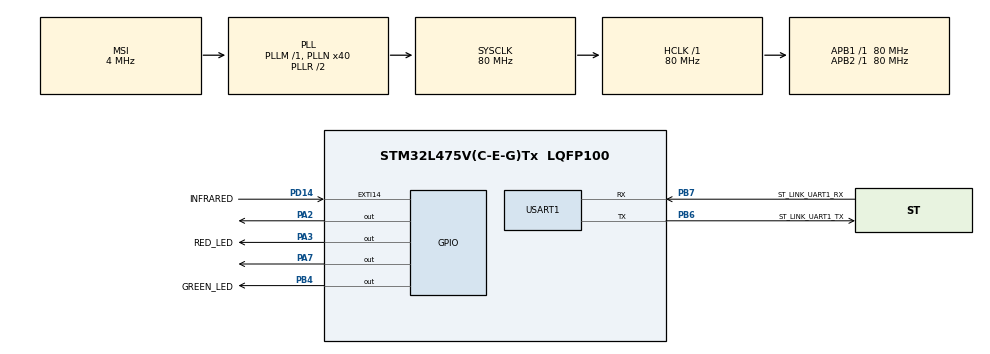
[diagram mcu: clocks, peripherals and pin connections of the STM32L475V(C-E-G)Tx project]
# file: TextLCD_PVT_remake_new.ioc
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Mcu.Family=STM32L4
Mcu.Name=STM32L475V(C-E-G)Tx
Mcu.Package=LQFP100
NVIC.EXTI15_10_IRQn=true\:0\:0\:false\:false\:true\:true\:true\:true
NVIC.PriorityGroup=NVIC_PRIORITYGROUP_4
PA2.GPIO_Speed=GPIO_SPEED_FREQ_HIGH
PA2.PinState=GPIO_PIN_SET
PA2.Signal=GPIO_Output
PA3.GPIO_Label=RED_LED
PA3.PinState=GPIO_PIN_SET
PA3.Signal=GPIO_Output
PA7.GPIO_Speed=GPIO_SPEED_FREQ_HIGH
PA7.PinState=GPIO_PIN_RESET
PA7.Signal=GPIO_Output
PB4\ (NJTRST).GPIO_Label=GREEN_LED
PB4\ (NJTRST).Signal=GPIO_Output
PB6.GPIO_Label=ST_LINK_UART1_TX
PB6.Mode=Asynchronous
PB6.Signal=USART1_TX
PB7.GPIO_Label=ST_LINK_UART1_RX
PB7.Mode=Asynchronous
PB7.Signal=USART1_RX
PD14.GPIO_Label=INFRARED
PD14.GPIO_ModeDefaultEXTI=GPIO_MODE_IT_RISING_FALLING
PD14.Signal=GPXTI14
ProjectManager.HeapSize=0x200
ProjectManager.StackSize=0x400
ProjectManager.TargetToolchain=STM32CubeIDE
RCC.ADCFreq_Value=32000000
RCC.AHBFreq_Value=80000000
RCC.APB1Freq_Value=80000000
RCC.APB1TimFreq_Value=80000000
RCC.APB2Freq_Value=80000000
RCC.APB2TimFreq_Value=80000000
RCC.CortexFreq_Value=80000000
RCC.HCLKFreq_Value=80000000
RCC.HSE_VALUE=8000000
RCC.HSI_VALUE=16000000
RCC.LSE_VALUE=32768
RCC.MSI_VALUE=4000000
RCC.PLLN=40
RCC.PLLSAI1N=16
RCC.SYSCLKFreq_VALUE=80000000
RCC.SYSCLKSource=RCC_SYSCLKSOURCE_PLLCLK
RCC.USBFreq_Value=32000000
RCC.VCOOutputFreq_Value=160000000
TIM2.AutoReloadPreload=TIM_AUTORELOAD_PRELOAD_DISABLE
TIM2.CounterMode=TIM_COUNTERMODE_UP
TIM2.Period=100000
TIM2.Prescaler=80
USART1.VirtualMode-Asynchronous=VM_ASYNC
VP_TIM2_VS_ClockSourceINT.Mode=Internal
board=B-L475E-IOT01A1

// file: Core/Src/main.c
/* USER CODE BEGIN Header */
/**
 ******************************************************************************
 * @file           : main.c
 * @brief          : Main program body
 ******************************************************************************
 * @attention
 *
 * Copyright (c) 2024 STMicroelectronics.
 * All rights reserved.
 *
 * This software is licensed under terms that can be found in the LICENSE file
 * in the root directory of this software component.
 * If no LICENSE file comes with this software, it is provided AS-IS.
 *
 ******************************************************************************
 */
/* USER CODE END Header */
#include "main.h"

/* USER CODE BEGIN Includes */
#include "stdio.h"
#include "string.h"
/* USER CODE END Includes */

TIM_HandleTypeDef htim2;

UART_HandleTypeDef huart1;

/* USER CODE BEGIN PV */
int infrared_state;
uint32_t infrared_code;

const uint8_t digitToSegment[] = {
// XGFEDCBA
		0b00111111,// 0
		0b00000110,    // 1
		0b01011011,    // 2
		0b01001111,    // 3
		0b01100110,    // 4
		0b01101101,    // 5
		0b01111101,    // 6
		0b00000111,    // 7
		0b01111111,    // 8
		0b01101111,    // 9
		0b01110111,    // A
		0b01111100,    // b
		0b00111001,    // C
		0b01011110,    // d
		0b01111001,    // E
		0b01110001     // F
		};
/* USER CODE END PV */

void SystemClock_Config(void);
static void MX_GPIO_Init(void);
static void MX_TIM2_Init(void);
static void MX_USART1_UART_Init(void);

/* USER CODE BEGIN 0 */
void Display_CLK(uint8_t level) {
	HAL_GPIO_WritePin(GPIOA, GPIO_PIN_2, level);
	//HAL_Delay(1);
}

void Display_DIO(uint8_t level) {
	HAL_GPIO_WritePin(GPIOA, GPIO_PIN_7, level);
	//HAL_Delay(1);
}

void I2Cstart(void) {
	Display_DIO(1);
	Display_CLK(1); //I2C start condition
	Display_DIO(0); //high to low data while clk high
	Display_CLK(0);
}

void I2Cstop(void) {
	Display_DIO(0);
	Display_CLK(1); //I2C stop condition
	Display_DIO(1); //low to high data while clk high

}

void I2Cwritebyte(uint8_t databyte)  //LSB first for TM1637 chip!!!
{
	for (uint8_t n = 0; n <= 7; n++) {
		if ((databyte & 0x01) > 0)
			Display_DIO(1);
		else
			Display_DIO(0);
		Display_CLK(1);
		databyte >>= 1;
		Display_CLK(0);
	}
	Display_CLK(1); //9th clk  ACK ignored
	Display_CLK(0);
}

void I2Cwritesegment(uint8_t segmentnr, uint8_t hexdigit) {
	I2Cstart();
	I2Cwritebyte(0x40);  //command1 write data to display register
	I2Cstop();
	I2Cstart();
	I2Cwritebyte(0xc0 + (segmentnr & 0x03));  //command2  display address
	I2Cwritebyte(digitToSegment[hexdigit & 0x0F]);  //data1
	I2Cstop();

	I2Cstart();
	I2Cwritebyte(0x88);  //display control --> display on
	I2Cstop();
}

void I2CwriteDECnumber(unsigned int number) {
	for (int8_t digitnr = 3; digitnr >= 1; digitnr--) {
		I2Cwritesegment(digitnr, number % 10);
		number /= 10;
	}
}

/* USER CODE END 0 */

int main(void) {

	/* USER CODE BEGIN 1 */

	//codes for white remote control
	uint32_t white_raw_codes[10] = { 0xff6897, 0xff30cf, 0xff18e7, 0xff7a85,
			0xff10ef, 0xff38c7, 0xff5aa5, 0xff42bd, 0xff4ab5, 0xff52ad }; //numbers from 0 to 9

	//codes for black remote control
	uint32_t black_raw_codes[10] = { 0xff9867, 0xffa25d, 0xff629d, 0xffe21d,
			0xff22dd, 0xff02fd, 0xffc23d, 0xffe01f, 0xffa857, 0xff906f }; //numbers from 0 to 9

	/* USER CODE END 1 */

	/* MCU Configuration--------------------------------------------------------*/

	/* Reset of all peripherals, Initializes the Flash interface and the Systick. */
	HAL_Init();

	/* USER CODE BEGIN Init */

	infrared_state = 0;
	/* USER CODE END Init */

	/* Configure the system clock */
	SystemClock_Config();

	/* Initialize all configured peripherals */
	MX_GPIO_Init();
	MX_TIM2_Init();
	MX_USART1_UART_Init();
	/* USER CODE BEGIN 2 */
	HAL_TIM_Base_Start(&htim2);

	/* USER CODE END 2 */

	/* Infinite loop */

	/* USER CODE BEGIN 3 */

	unsigned int getal = 0;
	char text[20];

	HAL_GPIO_WritePin(GPIOA, RED_LED_Pin, 0); //put red LED off

	// DEMO of the infrared decoding state machine via an external interrupt
	// pvantorre 09/04/2021

	while (1) {
		infrared_state = 0; //put infrared state machine in ISR in standby for new code
		while (infrared_state < 5) //wait until valid code is fully received
		{
			getal++; // in the meantime let a counter run full speed on the LED displays
			if (getal > 999) //to demonstrate you don't waste processing time waiting for the infrared sensor
				getal = 0;

			I2CwriteDECnumber(getal);
		}

		//if infrared_state == 5 a code was received
		//the raw 32-bits code is in infrared_code
		//bits from MSB to LSB are in the order as received

		//now look up if the raw code corresponds to a digit from 0 to 9 on the *** WHITE remote ***
		int digit = -1;
		for (int n = 0; n <= 9; n++)
			if (infrared_code == white_raw_codes[n]) {
				digit = n;

				sprintf(text, "White: %d \r\n", digit);
				HAL_UART_Transmit(&huart1, (uint8_t*) text, strlen(text), 100);

				I2Cwritesegment(0, digit); //display the digit that was sent in the first display position
				HAL_GPIO_WritePin(GPIOA, RED_LED_Pin, 0); //put red LED off --> white remote used for number entry
				break;
			}
		//so here digit is 0-9 if number pressed
		//else digit == -1 invalid
		//extra feature to see the counter value
		if (infrared_code == 0xffb04f) //check raw code for C button on white remote
			HAL_Delay(1000); //stop counter on display for 1 second

//*********************************************ONLY NECESSARY FOR BLACK REMOTE  **********************************START
		if (digit == -1) { //maybe it's a code from the black remote control????
						   //now look up if the raw code corresponds to a digit from 0 to 9 on the *** BLACK remote ***
			int digit = -1;
			for (int n = 0; n <= 9; n++)
				if (infrared_code == black_raw_codes[n]) {
					digit = n;

					sprintf(text, "Black: %d \r\n", digit);
					HAL_UART_Transmit(&huart1, (uint8_t*) text, strlen(text),
							100);

					I2Cwritesegment(0, digit); //display the digit that was sent in the first display position
					HAL_GPIO_WritePin(GPIOA, RED_LED_Pin, 1); //put red LED on --> black remote used for number entry
					break;
				}
		}

		//extra feature to see the counter value
		if (infrared_code == 0xffb04f) //check raw code for # button on black remote
			HAL_Delay(1000); //stop counter on display for 1 second

//*********************************************ONLY NECESSARY FOR BLACK REMOTE  **********************************END

	}

	/* USER CODE END WHILE */

	/* USER CODE BEGIN 3 */

	/* USER CODE END 3 */
}

void SystemClock_Config(void) {
	RCC_OscInitTypeDef RCC_OscInitStruct = { 0 };
	RCC_ClkInitTypeDef RCC_ClkInitStruct = { 0 };

	/** Configure the main internal regulator output voltage
	 */
	if (HAL_PWREx_ControlVoltageScaling(PWR_REGULATOR_VOLTAGE_SCALE1)
			!= HAL_OK) {
		Error_Handler();
	}

	/** Initializes the RCC Oscillators according to the specified parameters
	 * in the RCC_OscInitTypeDef structure.
	 */
	RCC_OscInitStruct.OscillatorType = RCC_OSCILLATORTYPE_MSI;
	RCC_OscInitStruct.MSIState = RCC_MSI_ON;
	RCC_OscInitStruct.MSICalibrationValue = 0;
	RCC_OscInitStruct.MSIClockRange = RCC_MSIRANGE_6;
	RCC_OscInitStruct.PLL.PLLState = RCC_PLL_ON;
	RCC_OscInitStruct.PLL.PLLSource = RCC_PLLSOURCE_MSI;
	RCC_OscInitStruct.PLL.PLLM = 1;
	RCC_OscInitStruct.PLL.PLLN = 40;
	RCC_OscInitStruct.PLL.PLLP = RCC_PLLP_DIV7;
	RCC_OscInitStruct.PLL.PLLQ = RCC_PLLQ_DIV2;
	RCC_OscInitStruct.PLL.PLLR = RCC_PLLR_DIV2;
	if (HAL_RCC_OscConfig(&RCC_OscInitStruct) != HAL_OK) {
		Error_Handler();
	}

	/** Initializes the CPU, AHB and APB buses clocks
	 */
	RCC_ClkInitStruct.ClockType = RCC_CLOCKTYPE_HCLK | RCC_CLOCKTYPE_SYSCLK
			| RCC_CLOCKTYPE_PCLK1 | RCC_CLOCKTYPE_PCLK2;
	RCC_ClkInitStruct.SYSCLKSource = RCC_SYSCLKSOURCE_PLLCLK;
	RCC_ClkInitStruct.AHBCLKDivider = RCC_SYSCLK_DIV1;
	RCC_ClkInitStruct.APB1CLKDivider = RCC_HCLK_DIV1;
	RCC_ClkInitStruct.APB2CLKDivider = RCC_HCLK_DIV1;

	if (HAL_RCC_ClockConfig(&RCC_ClkInitStruct, FLASH_LATENCY_4) != HAL_OK) {
		Error_Handler();
	}
}

static void MX_TIM2_Init(void) {

	TIM_ClockConfigTypeDef sClockSourceConfig = { 0 };
	TIM_MasterConfigTypeDef sMasterConfig = { 0 };

	htim2.Instance = TIM2;
	htim2.Init.Prescaler = 80;
	htim2.Init.CounterMode = TIM_COUNTERMODE_UP;
	htim2.Init.Period = 100000;
	htim2.Init.ClockDivision = TIM_CLOCKDIVISION_DIV1;
	htim2.Init.AutoReloadPreload = TIM_AUTORELOAD_PRELOAD_DISABLE;
	if (HAL_TIM_Base_Init(&htim2) != HAL_OK) {
		Error_Handler();
	}
	sClockSourceConfig.ClockSource = TIM_CLOCKSOURCE_INTERNAL;
	if (HAL_TIM_ConfigClockSource(&htim2, &sClockSourceConfig) != HAL_OK) {
		Error_Handler();
	}
	sMasterConfig.MasterOutputTrigger = TIM_TRGO_RESET;
	sMasterConfig.MasterSlaveMode = TIM_MASTERSLAVEMODE_DISABLE;
	if (HAL_TIMEx_MasterConfigSynchronization(&htim2, &sMasterConfig)
			!= HAL_OK) {
		Error_Handler();
	}

}

static void MX_USART1_UART_Init(void) {

	huart1.Instance = USART1;
	huart1.Init.BaudRate = 115200;
	huart1.Init.WordLength = UART_WORDLENGTH_8B;
	huart1.Init.StopBits = UART_STOPBITS_1;
	huart1.Init.Parity = UART_PARITY_NONE;
	huart1.Init.Mode = UART_MODE_TX_RX;
	huart1.Init.HwFlowCtl = UART_HWCONTROL_NONE;
	huart1.Init.OverSampling = UART_OVERSAMPLING_16;
	huart1.Init.OneBitSampling = UART_ONE_BIT_SAMPLE_DISABLE;
	huart1.AdvancedInit.AdvFeatureInit = UART_ADVFEATURE_NO_INIT;
	if (HAL_UART_Init(&huart1) != HAL_OK) {
		Error_Handler();
	}

}

static void MX_GPIO_Init(void) {
	GPIO_InitTypeDef GPIO_InitStruct = { 0 };

	/* GPIO Ports Clock Enable */
	__HAL_RCC_GPIOA_CLK_ENABLE();
	__HAL_RCC_GPIOD_CLK_ENABLE();
	__HAL_RCC_GPIOB_CLK_ENABLE();

	/*Configure GPIO pin Output Level */
	HAL_GPIO_WritePin(GPIOA, GPIO_PIN_2 | RED_LED_Pin, GPIO_PIN_SET);

	/*Configure GPIO pin Output Level */
	HAL_GPIO_WritePin(GPIOA, GPIO_PIN_7, GPIO_PIN_RESET);

	/*Configure GPIO pin Output Level */
	HAL_GPIO_WritePin(GREEN_LED_GPIO_Port, GREEN_LED_Pin, GPIO_PIN_RESET);

	/*Configure GPIO pins : PA2 PA7 */
	GPIO_InitStruct.Pin = GPIO_PIN_2 | GPIO_PIN_7;
	GPIO_InitStruct.Mode = GPIO_MODE_OUTPUT_PP;
	GPIO_InitStruct.Pull = GPIO_NOPULL;
	GPIO_InitStruct.Speed = GPIO_SPEED_FREQ_HIGH;
	HAL_GPIO_Init(GPIOA, &GPIO_InitStruct);

	/*Configure GPIO pin : RED_LED_Pin */
	GPIO_InitStruct.Pin = RED_LED_Pin;
	GPIO_InitStruct.Mode = GPIO_MODE_OUTPUT_PP;
	GPIO_InitStruct.Pull = GPIO_NOPULL;
	GPIO_InitStruct.Speed = GPIO_SPEED_FREQ_LOW;
	HAL_GPIO_Init(RED_LED_GPIO_Port, &GPIO_InitStruct);

	/*Configure GPIO pin : INFRARED_Pin */
	GPIO_InitStruct.Pin = INFRARED_Pin;
	GPIO_InitStruct.Mode = GPIO_MODE_IT_RISING_FALLING;
	GPIO_InitStruct.Pull = GPIO_NOPULL;
	HAL_GPIO_Init(INFRARED_GPIO_Port, &GPIO_InitStruct);

	/*Configure GPIO pin : GREEN_LED_Pin */
	GPIO_InitStruct.Pin = GREEN_LED_Pin;
	GPIO_InitStruct.Mode = GPIO_MODE_OUTPUT_PP;
	GPIO_InitStruct.Pull = GPIO_NOPULL;
	GPIO_InitStruct.Speed = GPIO_SPEED_FREQ_LOW;
	HAL_GPIO_Init(GREEN_LED_GPIO_Port, &GPIO_InitStruct);

	/* EXTI interrupt init*/
	HAL_NVIC_SetPriority(EXTI15_10_IRQn, 0, 0);
	HAL_NVIC_EnableIRQ(EXTI15_10_IRQn);

}

void Error_Handler(void) {
}
